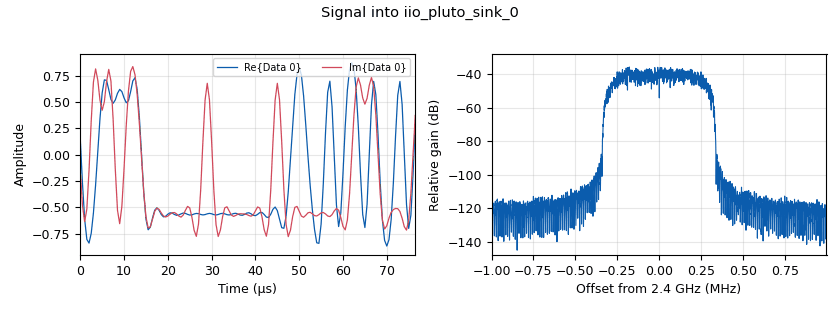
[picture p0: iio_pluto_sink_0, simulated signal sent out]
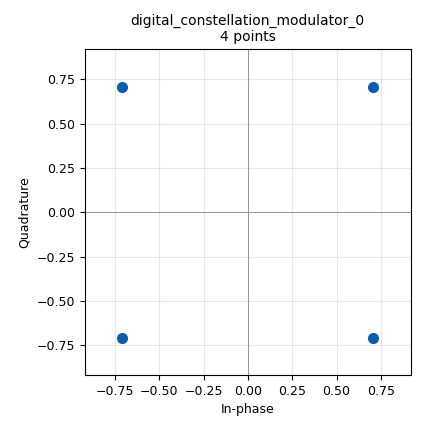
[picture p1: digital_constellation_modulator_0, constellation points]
options:
  parameters:
    author: Pixel_Pulse
    generate_options: qt_gui
    generator_class_name: PythonQtGuiGenerator
    generator_module: gnuradio.grc.workflows.python_qt_gui
    id: Version_1
    output_language: python
    title: CDP
  states: {}

blocks:
- name: access_key
  id: variable
  parameters:
    value: '"1110000101011010111010001001001111100001010110101110100010010011"'
  states: {}
- name: excess_bw
  id: variable
  parameters:
    value: '0.35'
  states: {}
- name: freq
  id: variable
  parameters:
    value: 2.4e9
  states: {}
- name: hdr_format
  id: variable
  parameters:
    comment: header_format_default
    value: digital.header_format_default(access_key, 0)
  states: {}
- name: my_addr
  id: variable
  parameters:
    value: '''B1'''
  states: {}
- name: qpsk
  id: variable_constellation_rect
  parameters:
    const_points: '[0.707+0.707j, -0.707+0.707j, -0.707-0.707j, 0.707-0.707j] '
    imag_sect: '2'
    real_sect: '2'
    rot_sym: '4'
    sym_map: '[0, 1, 3, 2]'
    w_imag_sect: '1'
    w_real_sect: '1'
  states: {}
- name: samp_rate
  id: variable
  parameters:
    value: '2000000'
  states: {}
- name: sender_addr
  id: variable
  parameters:
    value: '''B1'''
  states: {state: disabled}
- name: sps
  id: variable
  parameters:
    value: '4'
  states: {}
- name: tx_message
  id: variable_qtgui_entry
  parameters:
    label: Transmited message
    type: string
    value: '"Hello"'
  states: {}
- name: blocks_message_strobe_0
  id: blocks_message_strobe
  parameters:
    msg: pmt.cons(pmt.PMT_NIL, pmt.init_u8vector(len(tx_message.encode()), list(tx_message.encode())))
    period: '1000'
  states: {}
- name: blocks_multiply_const_vxx_0
  id: blocks_multiply_const_vxx
  parameters:
    const: '0.8'
    type: complex
  states: {}
- name: blocks_tagged_stream_mux_0
  id: blocks_tagged_stream_mux
  parameters:
    lengthtagname: packet_len
    ninputs: '2'
    type: byte
  states: {}
- name: digital_constellation_modulator_0
  id: digital_constellation_modulator
  parameters:
    constellation: qpsk
    differential: 'True'
    excess_bw: excess_bw
    samples_per_symbol: sps
  states: {}
- name: digital_crc_append_0
  id: digital_crc_append
  parameters:
    poly: '0x4C11DB7'
  states: {}
- name: digital_protocol_formatter_async_0
  id: digital_protocol_formatter_async
  parameters:
    format: hdr_format
  states: {}
- name: epy_block_3
  id: epy_block
  parameters:
    _source_code: |
      """
      Embedded Python Block: PDU Prepend Dummy Bytes
      """

      import numpy as np
      from gnuradio import gr
      import pmt

      class blk(gr.basic_block):
          def __init__(self, num_dummy_bytes=64):  # Default to 64 bytes
              """
              Constructor.
              Args:
                  num_dummy_bytes: The number of random bytes to prepend.
              """
              gr.basic_block.__init__(
                  self,
                  name='PDU Prepend Dummy Bytes',
                  in_sig=None,
                  out_sig=None
              )
              
              # Save the parameter
              self.num_dummy_bytes = num_dummy_bytes

              # Register message ports for PDU handling
              self.message_port_register_in(pmt.intern('pdu_in'))
              self.message_port_register_out(pmt.intern('pdu_out'))
              
              # Set up the message handler
              self.set_msg_handler(pmt.intern('pdu_in'), self.handle_msg)

          def handle_msg(self, msg):
              """
              Message handler that processes incoming PDUs.
              """
              # 1. Validate that the message is a PDU (it should be a pair: meta + data)
              if not pmt.is_pair(msg):
                  return

              # 2. Extract metadata and data vector
              meta = pmt.car(msg)
              data_pmt = pmt.cdr(msg)
              
              # Convert PMT vector to a numpy array (uint8)
              # We rely on pmt.u8vector_elements to get the data out
              try:
                  input_data = pmt.u8vector_elements(data_pmt)
              except:
                  # If data is not a u8vector, ignore or print error
                  return

              # 3. Generate dummy bytes for QPSK Costas Loop Sync
              # We use random integers between 0 and 255.
              # Random data ensures White Noise properties, meaning we have an equal 
              # probability of generating 00, 01, 10, and 11 bit pairs.
              # This guarantees that the transitions hit all 4 points of the QPSK 
              # constellation (1+j, 1-j, -1+j, -1-j) to energize the loop.
              dummy_data = np.random.randint(0, 256, self.num_dummy_bytes, dtype=np.uint8)
              
              # 4. Concatenate the dummy bytes with the input data
              # input_data comes out as a tuple or list from pmt, convert to array first
              combined_data = np.concatenate((dummy_data, np.array(input_data, dtype=np.uint8)))

              # 5. Create new output PMT
              # We keep the original metadata (meta)
              out_len = len(combined_data)
              out_vector = pmt.init_u8vector(out_len, combined_data)
              out_msg = pmt.cons(meta, out_vector)

              # 6. Publish the message to the output port
              self.message_port_pub(pmt.intern('pdu_out'), out_msg)
    num_dummy_bytes: '1500'
  states: {}
- name: iio_pluto_sink_0
  id: iio_pluto_sink
  parameters:
    attenuation1: '10.0'
    bandwidth: '20000000'
    buffer_size: '32768'
    cyclic: 'False'
    filter_source: '''Auto'''
    frequency: '2400000000'
    samplerate: samp_rate
    type: fc32
    uri: ip:192.168.1.11
  states: {}
- name: pdu_pdu_to_tagged_stream_0
  id: pdu_pdu_to_tagged_stream
  parameters:
    tag: packet_len
    type: byte
  states: {}
- name: pdu_pdu_to_tagged_stream_1
  id: pdu_pdu_to_tagged_stream
  parameters:
    tag: packet_len
    type: byte
  states: {}
- name: pdu_pdu_to_tagged_stream_2
  id: pdu_pdu_to_tagged_stream
  parameters:
    tag: packet_len
    type: byte
  states: {}
- name: pdu_tagged_stream_to_pdu_0
  id: pdu_tagged_stream_to_pdu
  parameters:
    tag: packet_len
    type: byte
  states: {}

connections:
- [blocks_message_strobe_0, strobe, digital_crc_append_0, in]
- [blocks_multiply_const_vxx_0, '0', iio_pluto_sink_0, '0']
- [blocks_tagged_stream_mux_0, '0', pdu_tagged_stream_to_pdu_0, '0']
- [digital_constellation_modulator_0, '0', blocks_multiply_const_vxx_0, '0']
- [digital_crc_append_0, out, digital_protocol_formatter_async_0, in]
- [digital_protocol_formatter_async_0, header, pdu_pdu_to_tagged_stream_0, pdus]
- [digital_protocol_formatter_async_0, payload, pdu_pdu_to_tagged_stream_1, pdus]
- [epy_block_3, pdu_out, pdu_pdu_to_tagged_stream_2, pdus]
- [pdu_pdu_to_tagged_stream_0, '0', blocks_tagged_stream_mux_0, '0']
- [pdu_pdu_to_tagged_stream_1, '0', blocks_tagged_stream_mux_0, '1']
- [pdu_pdu_to_tagged_stream_2, '0', digital_constellation_modulator_0, '0']
- [pdu_tagged_stream_to_pdu_0, pdus, epy_block_3, pdu_in]

metadata:
  file_format: 1
  grc_version: 3.10.12.0
